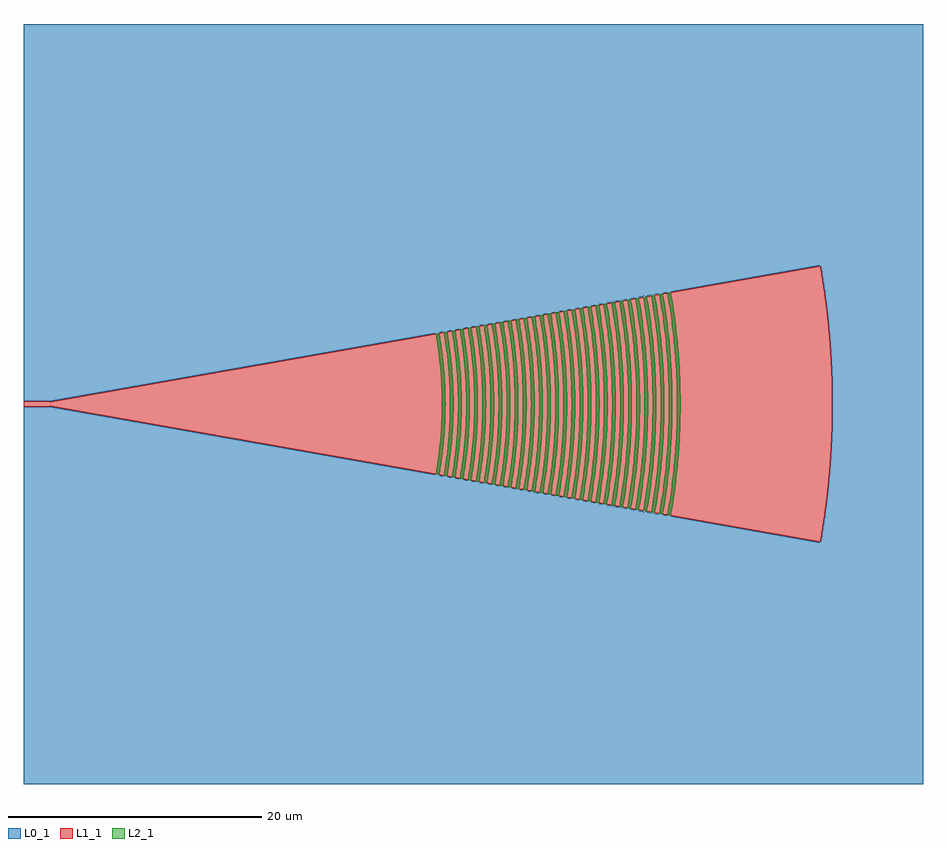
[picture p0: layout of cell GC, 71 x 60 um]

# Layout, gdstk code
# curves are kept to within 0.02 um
import gdstk
lib = gdstk.Library(unit=1e-6, precision=1e-10)
def R(c, l, rs):  # rectangles x0, y0, x1, y1
    for r in rs: c.add(gdstk.rectangle(r[:2], r[2:], *l))
def P(c, l, *ps):  # polygons
    for p in ps: c.add(gdstk.Polygon(p, *l))
L0_1 = (0, 1)
L1_1 = (1, 1)
L2_1 = (2, 1)

c_gc = lib.new_cell('GC')
R(c_gc, L0_1, [(32.3637,-30,33.2799,-8.83), (33.2799,-30,34.2421,-8.83), (34.2421,-30,35.1988,-8.83), (35.1988,-30,39.9182,-8.83), (39.9182,-30,40.9473,-8.83), (40.9473,-30,41.8821,-8.83), (41.8821,-30,42.8522,-8.83), (42.8522,-30,43.7862,-8.83), (43.7862,-30,44.7613,-8.83), (44.7613,-30,49.2546,-8.83), (32.3637,-8.83,33.2799,-8.7189), (33.2799,-8.83,34.2421,-8.7189), (34.2421,-8.83,35.1988,-8.7189), (35.1988,-8.83,39.9182,-8.7189), (39.9182,-8.83,40.9473,-8.7189), (40.9473,-8.83,41.8821,-8.7189), (41.8821,-8.83,42.8522,-8.7189), (42.8522,-8.83,43.7862,-8.7189), (43.7862,-8.83,44.7613,-8.7189), (44.7613,-8.83,49.2546,-8.7189), (32.3637,-8.7189,33.2799,-7.8298), (33.2799,-8.7189,34.2421,-7.8298), (34.2421,-8.7189,35.1988,-7.8298), (35.1988,-8.7189,39.9182,-7.8298), (39.9182,-8.7189,40.9473,-7.8298), (40.9473,-8.7189,41.8821,-7.8298), (41.8821,-8.7189,42.8522,-7.8298), (42.8522,-8.7189,43.7862,-7.8298), (32.3637,-7.8298,33.2799,-7.7187), (33.2799,-7.8298,34.2421,-7.7187), (34.2421,-7.8298,35.1988,-7.7187), (35.1988,-7.8298,39.9182,-7.7187), (39.9182,-7.8298,40.9473,-7.7187), (40.9473,-7.8298,41.8821,-7.7187), (41.8821,-7.8298,42.8522,-7.7187), (32.3637,-7.7187,33.2799,-7.6075), (33.2799,-7.7187,34.2421,-7.6075), (34.2421,-7.7187,35.1988,-7.6075), (35.1988,-7.7187,39.9182,-7.6075), (39.9182,-7.7187,40.9473,-7.6075), (40.9473,-7.7187,41.8821,-7.6075), (41.8821,-7.7187,42.8522,-7.6075), (32.3637,-7.6075,33.2799,-7.4964), (33.2799,-7.6075,34.2421,-7.4964), (34.2421,-7.6075,35.1988,-7.4964), (35.1988,-7.6075,39.9182,-7.4964), (39.9182,-7.6075,40.9473,-7.4964), (40.9473,-7.6075,41.8821,-7.4964), (32.3637,-7.4964,33.2799,-7.3853), (33.2799,-7.4964,34.2421,-7.3853), (34.2421,-7.4964,35.1988,-7.3853), (35.1988,-7.4964,39.9182,-7.3853), (39.9182,-7.4964,40.9473,-7.3853), (40.9473,-7.4964,41.8821,-7.3853), (32.3637,-7.3853,33.2799,-7.2741), (33.2799,-7.3853,34.2421,-7.2741), (34.2421,-7.3853,35.1988,-7.2741), (35.1988,-7.3853,39.9182,-7.2741), (39.9182,-7.3853,40.9473,-7.2741), (32.3637,-7.2741,33.2799,-7.163), (33.2799,-7.2741,34.2421,-7.163), (34.2421,-7.2741,35.1988,-7.163), (35.1988,-7.2741,39.9182,-7.163), (32.3637,-7.163,33.2799,-7.0519), (33.2799,-7.163,34.2421,-7.0519), (34.2421,-7.163,35.1988,-7.0519), (35.1988,-7.163,39.9182,-7.0519), (32.3637,-7.0519,33.2799,-6.2739), (33.2799,-7.0519,34.2421,-6.2739), (34.2421,-7.0519,35.1988,-6.2739), (32.3637,-6.2739,33.2799,-6.1628), (33.2799,-6.2739,34.2421,-6.1628), (32.3637,-6.1628,33.2799,-6.0516), (33.2799,-6.1628,34.2421,-6.0516), (32.3637,-6.0516,33.2799,-5.9405)])
P(c_gc, L0_1, [(48.8639,-8.3371),(49.1853,-6.1637),(49.4101,-3.9782),(49.5379,-1.7849),(49.5698,0.1373),(49.515,2.3337),(49.363,4.5255),(49.114,6.7084),(48.8169,8.6077),(48.5313,8.5574),(48.8628,6.3985),(49.0984,4.227),(49.2375,2.0473),(49.2798,0.1365),(49.2375,-2.0473),(49.0984,-4.227),(48.8628,-6.3985),(48.5313,-8.5574),(48.8169,-8.6077)],
  [(48.233,-8.2295),(48.5503,-6.0841),(48.7497,-4.197),(48.8878,-2.0327),(48.9298,0.1356),(48.8757,2.3036),(48.7257,4.4671),(48.4799,6.6218),(48.1866,8.4966),(47.901,8.4462),(48.2283,6.3154),(48.4369,4.4406),(48.5861,2.2899),(48.6398,0.1348),(48.598,-2.0207),(48.4607,-4.1721),(48.2283,-6.3154),(47.901,-8.4462),(48.1866,-8.4966)],
  [(47.6021,-8.1218),(47.9152,-6.0046),(48.112,-4.1421),(48.2483,-2.0061),(48.2898,0.1338),(48.2365,2.2734),(48.112,4.1421),(47.8812,6.2699),(47.5564,8.3855),(47.2708,8.3351),(47.5937,6.2323),(47.8231,4.1172),(47.9586,1.9941),(47.9998,0.133),(47.9586,-1.9941),(47.8231,-4.1172),(47.5937,-6.2323),(47.2708,-8.3351),(47.5564,-8.3855)],
  [(46.9712,-8.0142),(47.2802,-5.925),(47.4744,-4.0872),(47.6089,-1.9795),(47.6498,0.132),(47.6089,1.9795),(47.4744,4.0872),(47.2466,6.1869),(46.9261,8.2743),(46.6405,8.224),(46.9591,6.1492),(47.1855,4.0623),(47.3075,2.2297),(47.3598,0.1312),(47.3191,-1.9675),(47.1855,-4.0623),(46.9591,-6.1492),(46.6405,-8.224),(46.9261,-8.2743)],
  [(46.3403,-7.9066),(46.6452,-5.8454),(46.8584,-3.7727),(46.9795,-1.6927),(47.0098,0.1302),(46.9579,2.2132),(46.8137,4.2918),(46.6121,6.1038),(46.2958,8.1632),(46.0102,8.1128),(46.2902,6.3227),(46.5249,4.2653),(46.6682,2.1995),(46.7198,0.1294),(46.6797,-1.9409),(46.5478,-4.0074),(46.3245,-6.0661),(46.0102,-8.1128),(46.2958,-8.1632)],
  [(45.7094,-7.7989),(45.9775,-6.0207),(46.1991,-3.9774),(46.33,-1.9264),(46.3698,0.1285),(46.3186,2.183),(46.1764,4.2333),(45.9775,6.0207),(45.6655,8.0521),(45.3799,8.0017),(45.6561,6.2361),(45.8876,4.2069),(46.0289,2.1694),(46.0798,0.1277),(46.0402,-1.9143),(45.9102,-3.9525),(45.6899,-5.983),(45.3799,-8.0017),(45.6655,-8.0521)],
  [(39.4006,-6.7225),(39.6598,-4.97),(39.8411,-3.2078),(39.9441,-1.4392),(39.9698,0.1107),(39.9257,1.8817),(39.8227,3.4285),(39.6317,5.1897),(39.3628,6.9407),(39.0772,6.8904),(39.3721,4.934),(39.552,3.1845),(39.6616,1.209),(39.6725,-0.7694),(39.6129,-2.3072),(39.4936,-3.8415),(39.315,-5.3699),(39.0772,-6.8904),(39.3628,-6.9407)],
  [(38.7697,-6.6149),(39.0248,-4.8904),(39.2031,-3.1564),(39.3045,-1.4162),(39.3298,0.109),(39.2864,1.8516),(39.1658,3.5906),(38.9971,5.1066),(38.7325,6.8296),(38.4469,6.7792),(38.737,4.8544),(38.9141,3.1331),(39.0219,1.1895),(39.0327,-0.757),(38.974,-2.27),(38.8566,-3.7795),(38.6808,-5.2833),(38.4469,-6.7792),(38.7325,-6.8296)],
  [(38.1389,-6.5072),(38.3625,-5.0235),(38.5474,-3.3187),(38.6566,-1.6073),(38.6899,0.1072),(38.6471,1.8215),(38.5474,3.3187),(38.3625,5.0235),(38.1022,6.7184),(37.8166,6.6681),(38.102,4.7748),(38.2926,2.8696),(38.3881,0.9573),(38.3928,-0.7446),(38.335,-2.2328),(38.2196,-3.7175),(38.0467,-5.1967),(37.8166,-6.6681),(38.1022,-6.7184)],
  [(37.508,-6.3996),(37.7547,-4.7313),(37.9098,-3.2638),(38.0172,-1.5807),(38.0499,0.1054),(38.0172,1.5807),(37.9098,3.2638),(37.7279,4.9404),(37.4719,6.6073),(37.1863,6.557),(37.467,4.6952),(37.6382,3.0304),(37.7425,1.1505),(37.7529,-0.7322),(37.6961,-2.1955),(37.5826,-3.6556),(37.4126,-5.1101),(37.1863,-6.557),(37.4719,-6.6073)],
  [(36.8771,-6.292),(37.1197,-4.6517),(37.2721,-3.2089),(37.3777,-1.5541),(37.4099,0.1036),(37.3685,1.7612),(37.2538,3.4153),(37.0933,4.8573),(36.8417,6.4962),(36.5561,6.4458),(36.8319,4.6156),(37.0162,2.774),(37.1085,0.9254),(37.1085,-0.9254),(37.0447,-2.3636),(36.9252,-3.7983),(36.7785,-5.0235),(36.5561,-6.4458),(36.8417,-6.4962)],
  [(36.2462,-6.1843),(36.4846,-4.5721),(36.6345,-3.154),(36.7383,-1.5276),(36.7699,0.1019),(36.7383,1.5276),(36.6345,3.154),(36.4587,4.7742),(36.2114,6.385),(35.9258,6.3347),(36.1969,4.5361),(36.378,2.7262),(36.4687,0.9095),(36.4687,-0.9095),(36.406,-2.3229),(36.2885,-3.7328),(36.1165,-5.1371),(35.9258,-6.3347),(36.2114,-6.385)],
  [(32.3637,-30),(32.3637,-4.238),(32.1441,-5.6679),(32.3519,-5.7045),(31.7994,-5.6071),(32.0167,-4.1925),(32.1552,-2.9479),(32.2542,-1.5202),(32.2899,-0.0895),(32.2621,1.3414),(32.171,2.7697),(32.0167,4.1925),(31.7994,5.6071),(32.3239,5.6996),(32.1441,5.6679),(32.3637,4.238),(32.3637,30),(-1,30),(-1,0.22),(1,0.22),(1,0.1763),(31.6766,5.5854),(31.5138,5.5567),(31.7291,4.1549),(31.8821,2.7448),(31.9724,1.3294),(31.9999,0.0887),(31.9724,-1.3294),(31.8821,-2.7448),(31.7291,-4.1549),(31.5138,-5.5567),(31.6894,-5.5877),(1,-0.1763),(1,-0.22),(-1,-0.22),(-1,-30)],
  [(33.2799,4.4033),(33.06,5.8294),(33.2799,5.8681),(33.2799,30),(32.3637,30),(32.3637,4.238),(32.5738,2.0784),(32.6399,0.0904),(32.5738,-2.0784),(32.3637,-4.238),(32.3637,-5.7182),(32.4297,-5.7182),(32.4911,-5.3585),(32.7572,-3.3695),(32.8743,-1.9147),(32.9289,-0.2737),(32.9086,1.1857),(32.8238,2.6428),(32.6744,4.0946),(32.4297,5.7182),(32.7744,5.779),(32.8944,5.0513),(33.0441,3.9551),(33.1727,2.6709),(33.2513,1.3826),(33.2799,0.0922)],
  [(33.2799,-5.8681),(33.06,-5.8294),(32.3637,-5.8294),(32.3637,-5.9405),(33.2799,-5.9405)],
  [(33.2789,-0.2766),(33.2431,-1.5668),(33.1573,-2.8546),(33.0217,-4.1382),(32.8364,-5.4155),(32.7744,-5.779),(32.3637,-5.7182),(32.3637,-5.8294),(33.06,-5.8294),(33.1226,-5.4627),(33.2799,-4.4033)],
  [(33.7227,-5.7537),(33.9204,-4.4418),(34.0671,-3.1232),(34.1626,-1.7999),(34.2067,-0.4739),(34.1941,1.0424),(34.0997,2.7455),(33.9445,4.2538),(33.6903,5.9405),(34.035,6.0013),(34.2421,4.677),(34.2421,30),(33.2799,30),(33.2799,5.8681),(33.4047,5.8901),(33.7222,3.6577),(33.8626,1.9723),(33.9199,0.094),(33.873,-1.7846),(33.7222,-3.6577),(33.4047,-5.8901),(33.2799,-5.8681),(33.2799,-5.9405),(33.6903,-5.9405)],
  [(33.2858,-4.3587),(33.5019,-2.1376),(33.5699,0.093),(33.4895,2.3232),(33.2799,4.4033)],
  [(34.2421,-4.677),(34.2156,-4.8667),(34.1881,-5.0562),(34.1596,-5.2456),(34.13,-5.4347),(34.0994,-5.6238),(34.0677,-5.8126),(34.035,-6.0013),(33.6903,-5.9405),(33.2799,-5.9405),(33.2799,-6.0516),(34.2421,-6.0516)],
  [(34.3536,-5.8614),(34.555,-4.5249),(34.7216,-2.9893),(34.8199,-1.4478),(34.8499,0.0965),(34.8114,1.6407),(34.7216,2.9893),(34.555,4.5249),(34.3206,6.0516),(34.6652,6.1124),(34.7922,5.3427),(34.9732,3.9896),(35.0865,2.8249),(35.161,1.6572),(35.1988,0.2925),(35.1988,4.5362),(34.9508,6.1628),(35.1988,6.2065),(35.1988,30),(34.2421,30),(34.2421,4.677),(34.4771,2.3917),(34.5599,0.0957),(34.4899,-2.2006),(34.3977,-3.3458),(34.2421,-4.677),(34.2421,-6.0516),(34.3206,-6.0516)],
  [(34.9844,-5.969),(35.1988,-4.5362),(35.1988,-0.2925),(35.161,-1.6572),(35.0703,-3.0193),(34.9268,-4.3769),(34.7308,-5.7279),(34.6652,-6.1124),(34.2421,-6.0516),(34.2421,-6.1628),(34.9508,-6.1628)],
  [(35.1988,-6.2065),(34.9508,-6.1628),(34.2421,-6.1628),(34.2421,-6.2739),(35.1988,-6.2739)],
  [(35.6153,-6.0767),(35.8496,-4.4925),(36.0135,-2.8996),(36.1066,-1.3009),(36.1299,0.1001),(36.0899,1.701),(35.9791,3.2985),(35.8242,4.6911),(35.5811,6.2739),(39.8266,7.0225),(39.7074,7.0015),(39.9182,5.6778),(39.9182,30),(35.1988,30),(35.1988,6.2065),(35.2955,6.2236),(35.4829,5.047),(35.6519,3.6673),(35.7904,1.8856),(35.8399,0.0993),(35.8003,-1.6873),(35.6519,-3.6673),(35.4829,-5.047),(35.2955,-6.2236),(35.1988,-6.2065),(35.1988,-6.2739),(35.5811,-6.2739)],
  [(35.2146,-4.413),(35.3418,-3.24),(35.43,-2.0636),(35.4899,0.0983),(35.418,2.2598),(35.1988,4.5362)],
  [(39.9182,-5.6778),(39.8862,-5.8989),(39.8529,-6.1198),(39.8183,-6.3405),(39.7826,-6.5611),(39.7456,-6.7814),(39.7074,-7.0015),(39.8673,-7.0297),(35.5811,-6.2739),(35.1988,-6.2739),(35.1988,-7.0519),(39.9182,-7.0519)],
  [(40.0315,-6.8302),(40.2948,-5.0496),(40.479,-3.2591),(40.5837,-1.4622),(40.6098,0.1125),(40.565,1.9119),(40.4404,3.7075),(40.2364,5.4958),(39.993,7.0519),(40.5089,7.1428),(40.3377,7.1126),(40.5832,5.5432),(40.7676,3.9654),(40.8769,2.6081),(40.9473,1.0212),(40.9473,4.9871),(40.6233,7.163),(40.9473,7.2201),(40.9473,30),(39.9182,30),(39.9182,5.6778),(40.0849,4.3479),(40.2073,3.0131),(40.2939,1.4518),(40.3198,0.1117),(40.2939,-1.4518),(40.2233,-2.7903),(40.1084,-4.1257),(39.9182,-5.6778),(39.9182,-7.0519),(39.993,-7.0519)],
  [(40.6624,-6.9378),(40.9473,-4.9871),(40.9473,-1.0212),(40.8769,-2.6081),(40.7676,-3.9654),(40.5832,-5.5432),(40.3377,-7.1126),(40.5252,-7.1457),(39.9182,-7.0519),(39.9182,-7.163),(40.6233,-7.163)],
  [(40.9473,-7.2201),(40.6233,-7.163),(39.9182,-7.163),(39.9182,-7.2741),(40.9473,-7.2741)],
  [(41.2933,-7.0454),(41.5354,-5.439),(41.7151,-3.8243),(41.832,-2.2039),(41.8821,-0.8123),(41.8706,1.2764),(41.7729,3.1304),(41.5649,5.2088),(41.2536,7.2741),(41.5983,7.3349),(41.8821,5.4868),(41.8821,30),(40.9473,30),(40.9473,7.2201),(41.1293,7.2522),(40.968,7.2238),(41.2479,5.4013),(41.4263,3.7979),(41.5539,1.9585),(41.5986,0.3457),(41.5641,-1.7282),(41.4467,-3.5683),(41.2479,-5.4013),(40.968,-7.2238),(41.1776,-7.2607),(40.9473,-7.2201),(40.9473,-7.2741),(41.2536,-7.2741)],
  [(40.9577,-4.9023),(41.1802,-2.3985),(41.2498,0.1143),(41.1663,2.6266),(40.9473,4.9871)],
  [(41.8821,-5.4868),(41.5983,-7.3349),(41.2536,-7.2741),(40.9473,-7.2741),(40.9473,-7.3853),(41.8821,-7.3853)],
  [(41.9242,-7.1531),(42.17,-5.5221),(42.3733,-3.648),(42.4933,-1.7668),(42.5298,0.1178),(42.4933,1.7668),(42.3733,3.648),(42.17,5.5221),(41.8839,7.3853),(42.2286,7.446),(42.3085,6.9776),(42.517,5.5675),(42.6786,4.1513),(42.8522,1.544),(42.8522,5.2273),(42.5142,7.4964),(42.8522,7.556),(42.8522,30),(41.8821,30),(41.8821,5.4868),(42.0416,4.0893),(42.1543,2.6896),(42.2398,0.117),(42.2204,-1.287),(42.1543,-2.6896),(42.0416,-4.0893),(41.8821,-5.4868),(41.8821,-7.3853)],
  [(41.886,-0.5802),(41.8886,-0.3481),(41.8898,-0.1161),(41.8898,0.1161),(41.8886,0.3481),(41.886,0.5802),(41.8821,0.8123),(41.8821,-0.8123)],
  [(42.555,-7.2607),(42.8522,-5.2273),(42.8522,-1.544),(42.793,-2.7304),(42.6786,-4.1513),(42.517,-5.5675),(42.3085,-6.9776),(42.2286,-7.446),(41.8821,-7.3853),(41.8821,-7.4964),(42.5142,-7.4964)],
  [(42.8522,-7.556),(42.5142,-7.4964),(41.8821,-7.4964),(41.8821,-7.6075),(42.8522,-7.6075)],
  [(43.1859,-7.3684),(43.407,-5.9289),(43.58,-4.4828),(43.705,-3.0318),(43.7862,-1.4393),(43.7862,1.4393),(43.705,3.0318),(43.47,5.4475),(43.1444,7.6075),(43.4891,7.6683),(43.7862,5.7337),(43.7862,30),(42.8522,30),(42.8522,7.556),(43.1196,5.8896),(43.3383,3.9731),(43.4597,2.2897),(43.5185,0.3617),(43.4918,-1.567),(43.3596,-3.733),(43.1516,-5.6506),(42.8522,-7.556),(42.8522,-7.6075),(43.1444,-7.6075)],
  [(42.8641,-5.1305),(43.097,-2.5101),(43.1698,0.1196),(43.0824,2.7489),(42.8522,5.2273),(42.8798,0.1188),(42.8522,-1.544)],
  [(43.7862,-7.6525),(43.7862,-5.7337),(43.4891,-7.6683),(43.1444,-7.6075),(42.8522,-7.6075),(42.8522,-7.7187),(43.7747,-7.7187)],
  [(43.7862,-7.7207),(43.7747,-7.7187),(42.8522,-7.7187),(42.8522,-7.8298),(43.7862,-7.8298)],
  [(44.7613,5.4331),(44.405,7.8298),(44.7497,7.8906),(44.7613,7.8234),(44.7613,30),(43.7862,30),(43.7862,7.7207),(44.1194,7.7794),(44.2029,7.2901),(44.3879,6.0628),(44.5649,4.5841),(44.6926,3.1003),(44.7613,1.8611)],
  [(43.8168,-7.476),(44.0737,-5.7714),(44.2862,-3.8127),(44.4116,-1.8466),(44.4498,0.1231),(44.4007,2.0927),(44.2862,3.8127),(44.0737,5.7714),(43.7862,7.6525),(43.7862,5.7337),(43.9526,4.2752),(44.0704,2.8119),(44.1314,1.5901),(44.1598,0.1223),(44.1395,-1.3455),(44.0704,-2.8119),(43.9526,-4.2752),(43.7862,-5.7337),(43.7862,-7.6525)],
  [(43.7897,-1.3349),(43.8058,-0.6068),(43.8098,0.1214),(43.8018,0.8495),(43.7862,1.4393),(43.7862,-1.4393)],
  [(44.4477,-7.5836),(44.7613,-5.4331),(44.7613,-1.8611),(44.6926,-3.1003),(44.5649,-4.5841),(44.3879,-6.0628),(44.2029,-7.2901),(44.1194,-7.7794),(43.7862,-7.7207),(43.7862,-7.8298),(44.405,-7.8298)],
  [(44.7613,-7.8234),(44.7497,-7.8906),(44.405,-7.8298),(43.7862,-7.8298),(43.7862,-8.7189),(44.7613,-8.7189)],
  [(49.2546,8.6849),(49.2546,30),(44.7613,30),(44.7613,7.8234),(45.0554,5.8999),(45.2725,3.8977),(45.4008,1.8877),(45.4398,0.1259),(45.4105,-1.6362),(45.3129,-3.3957),(45.0873,-5.6502),(44.7613,-7.8234),(44.7613,-8.7189),(49.2546,-8.7189),(49.2546,-8.6849),(45.0353,-7.9409),(45.3429,-5.9376),(45.5615,-3.9225),(45.6793,-2.1529),(45.7298,-0.1267),(45.6905,1.8998),(45.5615,3.9225),(45.3429,5.9376),(45.0353,7.9409)],
  [(49.2546,8.6849),(49.1616,8.6685),(49.2089,8.396),(49.2546,8.1232)],
  [(44.7704,-5.3587),(44.9017,-4.1165),(45.0137,-2.6218),(45.0691,-1.3739),(45.0898,0.1249),(45.0608,1.6236),(44.9985,2.8711),(44.7613,5.4331),(44.7613,1.8611),(44.7998,0.1241),(44.7613,-1.8611)],
  [(49.2546,-8.1232),(49.2089,-8.396),(49.1616,-8.6685),(49.2546,-8.6849)],
  [(49.2989,7.8502),(49.5662,5.9327),(49.759,4.0063),(49.8769,2.0739),(49.9198,-0.1383),(49.8769,-2.0739),(49.7804,-3.7305),(49.5662,-5.9327),(49.2546,-8.1232),(49.2546,-8.7189),(49.4472,-8.7189),(49.7097,-7.0705),(49.8865,-5.6908),(50.1251,-2.9195),(50.2083,-0.4173),(50.1774,1.8079),(50.048,4.0296),(49.785,6.5192),(49.4472,8.7189),(49.9711,8.8112),(49.7919,8.7797),(50.016,7.397),(50.2342,5.7305),(50.3737,4.3368),(50.4896,2.6664),(50.4896,6.0432),(50.0775,8.83),(50.4896,8.9027),(50.4896,30),(49.2546,30),(49.2546,8.1232)],
  [(50.1256,-8.5524),(50.4896,-6.0432),(50.4896,-2.6664),(50.3737,-4.3368),(50.2342,-5.7305),(50.016,-7.397),(49.7919,-8.7797),(49.9711,-8.8112),(49.4472,-8.7189),(49.2546,-8.7189),(49.2546,-8.83),(50.0775,-8.83)],
  [(50.4896,-8.9027),(50.0775,-8.83),(49.2546,-8.83),(49.2546,-30),(50.4896,-30)],
  [(70,30),(50.4896,30),(50.4896,8.9027),(61.8853,10.9121),(62.3081,8.1591),(62.6084,5.3901),(62.7783,2.7845),(62.84,0),(62.7783,-2.7845),(62.6084,-5.3901),(62.3081,-8.1591),(61.8853,-10.9121),(50.4896,-8.9027),(50.4896,-30),(70,-30)],
  [(50.5223,-5.7634),(50.764,-2.9567),(50.8264,-1.5494),(50.8498,0.1409),(50.764,2.9567),(50.6626,4.3617),(50.4896,6.0432),(50.4896,2.6664),(50.5598,0.1401),(50.4896,-2.6664),(50.4896,-6.0432)])
P(c_gc, L1_1, [(61.9153,-10.7406),(62.3304,-7.9865),(62.6231,-5.2167),(62.7927,-2.4366),(62.8398,0.1741),(62.7783,2.7845),(62.5932,5.5636),(62.3081,8.1591),(61.8853,10.9121),(1,0.1763),(1,0.22),(-1,0.22),(-1,-0.22),(1,-0.22),(1,-0.1763),(61.8853,-10.9121)])
P(c_gc, L2_1, [(31.7994,-5.6071),(32.0167,-4.1925),(32.1552,-2.9479),(32.2542,-1.5202),(32.2899,-0.0895),(32.2621,1.3414),(32.171,2.7697),(32.0167,4.1925),(31.7994,5.6071),(31.5138,5.5567),(31.7056,4.3306),(31.8497,3.0979),(31.9351,2.0376),(31.9901,0.7978),(31.9901,-0.7978),(31.9105,-2.3914),(31.7517,-3.979),(31.5138,-5.5567)],
  [(32.4297,-5.7182),(32.6271,-4.4565),(32.7925,-3.0063),(32.8935,-1.5503),(32.9299,-0.0912),(32.9016,1.368),(32.8086,2.8246),(32.6512,4.2756),(32.4297,5.7182),(32.1441,5.6679),(32.3148,4.5963),(32.4687,3.3399),(32.5738,2.0784),(32.6299,0.8137),(32.6299,-0.8137),(32.5487,-2.4392),(32.3867,-4.0586),(32.1441,-5.6679)],
  [(33.06,-5.8294),(33.2858,-4.3587),(33.4463,-2.8795),(33.5328,-1.5804),(33.5699,-0.093),(33.541,1.3946),(33.4463,2.8795),(33.2858,4.3587),(33.06,5.8294),(32.7744,5.779),(32.9738,4.5038),(33.1237,3.2219),(33.2125,2.1191),(33.2697,0.8297),(33.2697,-0.8297),(33.1869,-2.487),(33.0217,-4.1382),(32.7744,-5.779)],
  [(33.6903,-5.9405),(33.9204,-4.4418),(34.0839,-2.9344),(34.1721,-1.6106),(34.2099,-0.0948),(34.1805,1.4212),(34.0839,2.9344),(33.9204,4.4418),(33.6903,5.9405),(33.4047,5.8901),(33.582,4.7766),(33.742,3.4708),(33.8512,2.1599),(33.9095,0.8456),(33.9095,-0.8456),(33.8252,-2.5348),(33.6568,-4.2177),(33.4047,-5.8901)],
  [(34.3206,-6.0516),(34.555,-4.5249),(34.7216,-2.9893),(34.8114,-1.6407),(34.8499,-0.0965),(34.8199,1.4478),(34.7216,2.9893),(34.555,4.5249),(34.3206,6.0516),(34.035,6.0013),(34.2421,4.677),(34.3977,3.3458),(34.4899,2.2006),(34.5493,0.8616),(34.5493,-0.8616),(34.4634,-2.5827),(34.2918,-4.2973),(34.035,-6.0013)],
  [(34.9508,-6.1628),(35.1896,-4.608),(35.3418,-3.24),(35.4506,-1.6708),(35.4899,-0.0983),(35.4594,1.4744),(35.3592,3.0442),(35.1896,4.608),(34.9508,6.1628),(34.6652,6.1124),(34.8762,4.7637),(35.0347,3.4077),(35.1286,2.2414),(35.1891,0.8776),(35.1891,-0.8776),(35.1016,-2.6305),(34.9268,-4.3769),(34.6652,-6.1124)],
  [(35.5811,-6.2739),(35.8242,-4.6911),(35.9791,-3.2985),(36.0899,-1.701),(36.1299,-0.1001),(36.0988,1.501),(35.9968,3.0991),(35.8242,4.6911),(35.5811,6.2739),(35.2955,6.2236),(35.5103,4.8503),(35.6717,3.4697),(35.7794,2.0839),(35.8289,0.8935),(35.8289,-0.8935),(35.7398,-2.6783),(35.5619,-4.4565),(35.2955,-6.2236)],
  [(36.2114,-6.385),(36.4587,-4.7742),(36.6345,-3.154),(36.7383,-1.5276),(36.7699,-0.1019),(36.7383,1.5276),(36.6345,3.154),(36.4587,4.7742),(36.2114,6.385),(35.9258,6.3347),(36.1165,5.1371),(36.2885,3.7328),(36.406,2.3229),(36.4687,0.9095),(36.4687,-0.9095),(36.378,-2.7262),(36.1969,-4.5361),(35.9258,-6.3347)],
  [(36.8417,-6.4962),(37.0933,-4.8573),(37.2538,-3.4153),(37.3685,-1.7612),(37.4099,-0.1036),(37.3777,1.5541),(37.2721,3.2089),(37.0933,4.8573),(36.8417,6.4962),(36.5561,6.4458),(36.7785,5.0235),(36.9252,3.7983),(37.0447,2.3636),(37.1085,0.9254),(37.1085,-0.9254),(37.0162,-2.774),(36.8319,-4.6156),(36.5561,-6.4458)],
  [(37.4719,-6.6073),(37.7279,-4.9404),(37.9098,-3.2638),(38.0172,-1.5807),(38.0499,-0.1054),(38.0172,1.5807),(37.9098,3.2638),(37.7279,4.9404),(37.4719,6.6073),(37.1863,6.557),(37.4404,4.9027),(37.6023,3.4473),(37.7181,1.7777),(37.7599,0.1046),(37.7274,-1.5687),(37.6208,-3.2389),(37.4404,-4.9027),(37.1863,-6.557)],
  [(38.1022,-6.7184),(38.3625,-5.0235),(38.5474,-3.3187),(38.6471,-1.8215),(38.6899,-0.1072),(38.6566,1.6073),(38.5474,3.3187),(38.3625,5.0235),(38.1022,6.7184),(37.8166,6.6681),(38.0749,4.9858),(38.2585,3.2938),(38.3574,1.8078),(38.3999,0.1064),(38.3668,-1.5953),(38.2585,-3.2938),(38.0749,-4.9858),(37.8166,-6.6681)],
  [(38.7325,-6.8296),(38.9971,-5.1066),(39.1658,-3.5906),(39.2864,-1.8516),(39.3298,-0.109),(39.296,1.6339),(39.185,3.3736),(38.9971,5.1066),(38.7325,6.8296),(38.4469,6.7792),(38.7095,5.0689),(38.877,3.5641),(38.9967,1.838),(39.0399,0.1082),(39.0063,-1.6219),(38.8961,-3.3487),(38.7095,-5.0689),(38.4469,-6.7792)],
  [(39.3628,-6.9407),(39.6317,-5.1897),(39.8227,-3.4285),(39.9257,-1.8817),(39.9698,-0.1107),(39.9355,1.6605),(39.8227,3.4285),(39.6317,5.1897),(39.3628,6.9407),(39.0772,6.8904),(39.3441,5.152),(39.5338,3.4036),(39.636,1.8681),(39.6798,0.1099),(39.6457,-1.6484),(39.5338,-3.4036),(39.3441,-5.152),(39.0772,-6.8904)],
  [(39.993,-7.0519),(40.2364,-5.4958),(40.4404,-3.7075),(40.565,-1.9119),(40.6098,-0.1125),(40.5749,1.6871),(40.4603,3.4834),(40.2662,5.2728),(39.993,7.0519),(39.7074,7.0015),(39.9787,5.2351),(40.1714,3.4585),(40.2852,1.675),(40.3198,0.1117),(40.2852,-1.675),(40.1714,-3.4585),(39.9787,-5.2351),(39.7074,-7.0015)],
  [(40.6233,-7.163),(40.9008,-5.3559),(41.098,-3.5382),(41.2043,-1.942),(41.2498,-0.1143),(41.2144,1.7137),(41.098,3.5382),(40.9008,5.3559),(40.6233,7.163),(40.3377,7.1126),(40.6133,5.3182),(40.809,3.5134),(40.9146,1.9283),(40.9598,0.1135),(40.9246,-1.7016),(40.809,-3.5134),(40.6133,-5.3182),(40.3377,-7.1126)],
  [(41.2536,-7.2741),(41.5354,-5.439),(41.7151,-3.8243),(41.8436,-1.9721),(41.8898,-0.1161),(41.8538,1.7403),(41.7356,3.5931),(41.5354,5.439),(41.2536,7.2741),(40.968,7.2238),(41.2479,5.4013),(41.4263,3.7979),(41.5539,1.9585),(41.5998,0.1152),(41.5641,-1.7282),(41.4467,-3.5683),(41.2479,-5.4013),(40.968,-7.2238)],
  [(41.8839,-7.3853),(42.17,-5.5221),(42.3733,-3.648),(42.4933,-1.7668),(42.5298,-0.1178),(42.4933,1.7668),(42.3733,3.648),(42.17,5.5221),(41.8839,7.3853),(41.5983,7.3349),(41.8514,5.7164),(42.0636,3.8563),(42.1932,1.9886),(42.2398,0.117),(42.2035,-1.7548),(42.0843,-3.6232),(41.8824,-5.4844),(41.5983,-7.3349)],
  [(42.5142,-7.4964),(42.8046,-5.6052),(43.0109,-3.7029),(43.1327,-1.7934),(43.1698,-0.1196),(43.1327,1.7934),(43.0109,3.7029),(42.8046,5.6052),(42.5142,7.4964),(42.2286,7.446),(42.517,5.5675),(42.722,3.6781),(42.8325,2.0187),(42.8798,0.1188),(42.843,-1.7814),(42.722,-3.6781),(42.517,-5.5675),(42.2286,-7.446)],
  [(43.1444,-7.6075),(43.4391,-5.6883),(43.6485,-3.7578),(43.7722,-1.82),(43.8098,-0.1214),(43.7722,1.82),(43.6485,3.7578),(43.4391,5.6883),(43.1444,7.6075),(42.8588,7.5572),(43.1516,5.6506),(43.3383,3.9731),(43.4717,2.0489),(43.5198,0.1206),(43.4824,-1.808),(43.3596,-3.733),(43.1516,-5.6506),(42.8588,-7.5572)],
  [(43.7747,-7.7187),(44.0411,-6.0155),(44.2644,-4.058),(44.4007,-2.0927),(44.4498,-0.1231),(44.4116,1.8466),(44.2862,3.8127),(44.0737,5.7714),(43.7747,7.7187),(43.4891,7.6683),(43.7862,5.7337),(43.9756,4.0316),(44.111,2.079),(44.1598,0.1223),(44.1219,-1.8346),(43.9972,-3.7879),(43.7862,-5.7337),(43.4891,-7.6683)],
  [(44.405,-7.8298),(44.6752,-6.1021),(44.9017,-4.1165),(45.04,-2.1228),(45.0898,-0.1249),(45.0511,1.8732),(44.9238,3.8676),(44.7083,5.8545),(44.405,7.8298),(44.1194,7.7794),(44.4208,5.8168),(44.6349,3.8428),(44.7613,1.8611),(44.7998,0.1241),(44.7613,-1.8611),(44.6349,-3.8428),(44.4208,-5.8168),(44.1194,-7.7794)],
  [(45.0353,-7.9409),(45.3429,-5.9376),(45.5615,-3.9225),(45.6793,-2.1529),(45.7298,-0.1267),(45.6905,1.8998),(45.5615,3.9225),(45.3429,5.9376),(45.0353,7.9409),(44.7497,7.8906),(45.0554,5.8999),(45.2725,3.8977),(45.4008,1.8877),(45.4398,0.1259),(45.4008,-1.8877),(45.2725,-3.8977),(45.0554,-5.8999),(44.7497,-7.8906)],
  [(45.6655,-8.0521),(45.9775,-6.0207),(46.1764,-4.2333),(46.3186,-2.183),(46.3698,-0.1285),(46.33,1.9264),(46.1991,3.9774),(45.9775,6.0207),(45.6655,8.0521),(45.3799,8.0017),(45.6561,6.2361),(45.8876,4.2069),(46.0289,2.1694),(46.0798,0.1277),(46.0402,-1.9143),(45.9102,-3.9525),(45.6899,-5.983),(45.3799,-8.0017)],
  [(46.2958,-8.1632),(46.6121,-6.1038),(46.8137,-4.2918),(46.9579,-2.2132),(47.0098,-0.1302),(46.9694,1.953),(46.8367,4.0323),(46.6121,6.1038),(46.2958,8.1632),(46.0102,8.1128),(46.2902,6.3227),(46.5249,4.2653),(46.6682,2.1995),(46.7198,0.1294),(46.6797,-1.9409),(46.5478,-4.0074),(46.3245,-6.0661),(46.0102,-8.1128)],
  [(46.9261,-8.2743),(47.2466,-6.1869),(47.4744,-4.0872),(47.6089,-1.9795),(47.6498,-0.132),(47.6089,1.9795),(47.4744,4.0872),(47.2466,6.1869),(46.9261,8.2743),(46.6405,8.224),(46.9591,6.1492),(47.1855,4.0623),(47.3075,2.2297),(47.3598,0.1312),(47.3191,-1.9675),(47.1855,-4.0623),(46.9591,-6.1492),(46.6405,-8.224)],
  [(47.5564,-8.3855),(47.8812,-6.2699),(48.112,-4.1421),(48.2365,-2.2734),(48.2898,-0.1338),(48.2483,2.0061),(48.112,4.1421),(47.8812,6.2699),(47.5564,8.3855),(47.2708,8.3351),(47.5937,6.2323),(47.8231,4.1172),(47.9586,1.9941),(47.9998,0.133),(47.9586,-1.9941),(47.8231,-4.1172),(47.5937,-6.2323),(47.2708,-8.3351)],
  [(48.1866,-8.4966),(48.4799,-6.6218),(48.7257,-4.4671),(48.8757,-2.3036),(48.9298,-0.1356),(48.8878,2.0327),(48.7497,4.197),(48.5158,6.353),(48.1866,8.4966),(47.901,8.4462),(48.2283,6.3154),(48.4369,4.4406),(48.5861,2.2899),(48.6398,0.1348),(48.598,-2.0207),(48.4607,-4.1721),(48.2283,-6.3154),(47.901,-8.4462)],
  [(48.8169,-8.6077),(49.114,-6.7084),(49.363,-4.5255),(49.515,-2.3337),(49.5698,-0.1373),(49.5272,2.0593),(49.3873,4.2519),(49.1504,6.4361),(48.8169,8.6077),(48.5313,8.5574),(48.8628,6.3985),(49.0984,4.227),(49.2375,2.0473),(49.2798,0.1365),(49.2375,-2.0473),(49.0984,-4.227),(48.8628,-6.3985),(48.5313,-8.5574)],
  [(49.4472,-8.7189),(49.785,-6.5192),(50.0003,-4.5839),(50.1543,-2.3638),(50.2098,-0.1391),(50.1667,2.0859),(50.0249,4.3068),(49.785,6.5192),(49.4472,8.7189),(49.1616,8.6685),(49.4974,6.4816),(49.736,4.2819),(49.8769,2.0739),(49.9198,0.1383),(49.8769,-2.0739),(49.736,-4.2819),(49.4974,-6.4816),(49.1616,-8.6685)],
  [(50.0775,-8.83),(50.4196,-6.6023),(50.6626,-4.3617),(50.8061,-2.1125),(50.8498,-0.1409),(50.8061,2.1125),(50.6626,4.3617),(50.4196,6.6023),(50.0775,8.83),(49.7919,8.7797),(50.0949,6.8424),(50.3489,4.6159),(50.5039,2.3803),(50.5598,0.1401),(50.5164,-2.1004),(50.3737,-4.3368),(50.132,-6.5647),(49.7919,-8.7797)])

lib.write_gds('GC.gds')
